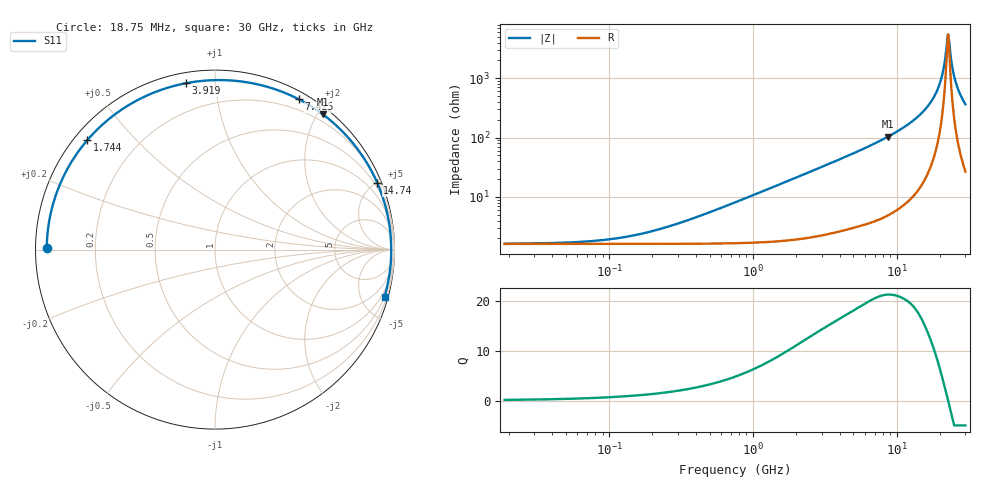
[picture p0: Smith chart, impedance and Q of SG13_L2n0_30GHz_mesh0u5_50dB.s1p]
#  Hz  S  RI  R  50
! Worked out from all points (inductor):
!   1600 points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, 18.75 MHz to 30 GHz, reference 50 ohm
!   read as one part to ground: L = 1.68 nH near 468.8 MHz
!   highest Q = 21.2 at 8.681 GHz (marker M1), where L = 1.9 nH
!   self-resonance near 22.75 GHz
!   S11 on the Smith chart (normalised r, x): 18.75 MHz: 0.03, +0.00; 1.744 GHz: 0.04, +0.37; 3.919 GHz: 0.05, +0.84; 7.425 GHz: 0.08, +1.70; 14.74 GHz: 0.30, +5.04; 30 GHz: 0.53, -7.28
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1.875e7  -0.9374 0.00742
1.5e8  -0.9356 0.0593
4.125e8  -0.9233 0.162
8.25e8  -0.8821 0.3169
1.25625e9  -0.8137 0.4648
1.74375e9  -0.7125 0.6086
2.23125e9  -0.5945 0.7246
2.71875e9  -0.4683 0.8125
3.225e9  -0.3359 0.8767
3.76875e9  -0.1981 0.9195
3.91875e9  -0.1615 0.9272
4.29375e9  -0.0732 0.9399
4.70625e9  0.0182 0.9445
5.625e9  0.1988 0.9286
6.50625e9  0.3434 0.8905
7.425e9  0.4674 0.8373
7.51875e9  0.4786 0.8314
8.68125e9  0.6002 0.7542
9.9e9  0.6973 0.6709
1.126875e10  0.7789 0.5799
1.29e10  0.8494 0.4779
1.47375e10  0.9038 0.3718
1.501875e10  0.9103 0.3564
1.68e10  0.9432 0.2638
1.876875e10  0.966 0.1697
2.251875e10  0.9818 0.00919
2.626875e10  0.9725 -0.1335
3e10  0.9446 -0.263
